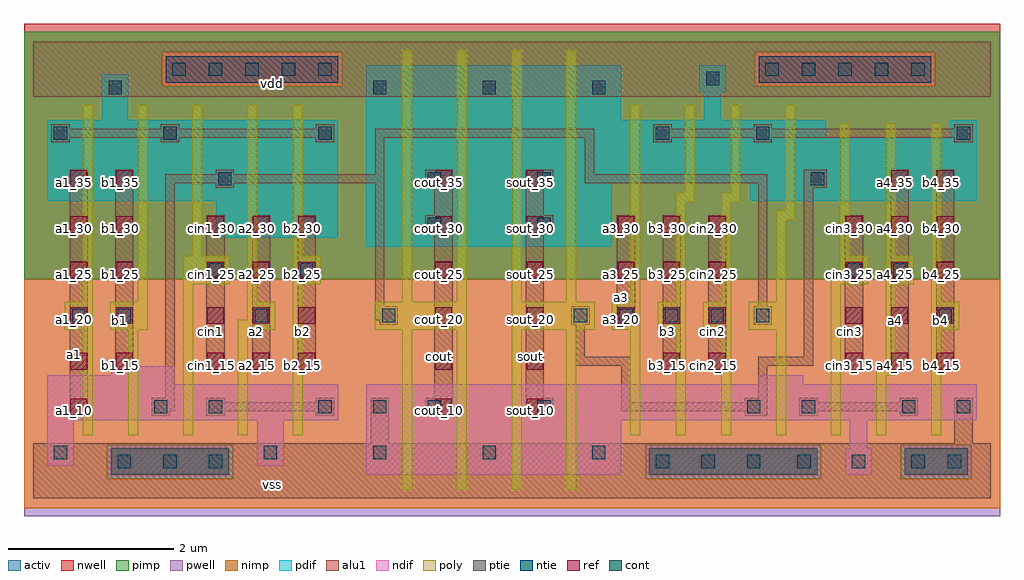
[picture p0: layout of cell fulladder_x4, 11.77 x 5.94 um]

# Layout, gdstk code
import gdstk
lib = gdstk.Library(unit=1e-6, precision=2.5e-09)
def R(c, l, rs):  # rectangles x0, y0, x1, y1
    for r in rs: c.add(gdstk.rectangle(r[:2], r[2:], *l))
def A(c, l, x, y, w, h, nx, ny, dx, dy):  # array of equal rectangles
    R(c, l, [(x+i*dx, y+j*dy, x+i*dx+w, y+j*dy+h) for i in range(nx) for j in range(ny)])
ndif = (3, 0)
pdif = (4, 0)
ntie = (5, 0)
ptie = (6, 0)
ref = (24, 0)
cont = (25, 0)
pwell = (41, 0)
nwell = (42, 0)
activ = (43, 0)
pimp = (44, 0)
nimp = (45, 0)
poly = (46, 0)
alu1 = (49, 0)

fulladder_x4 = lib.new_cell('fulladder_x4')
R(fulladder_x4, ndif, [(4.02,0.28,7.09,0.94), (4.02,0.28,7.09,0.94), (9.795,0.28,10.115,0.6), (9.795,0.28,10.115,0.6), (0.17,0.39,0.49,0.94), (0.17,0.39,0.49,0.94), (2.7,0.39,3.02,0.94), (2.7,0.39,3.02,0.94), (9.85,0.6,10.06,0.94), (9.85,0.6,10.06,0.94), (0.17,0.94,3.68,1.37), (0.17,0.94,3.68,1.37), (4.02,0.94,11.38,1.37), (4.02,0.94,11.38,1.37), (0.17,1.37,1.7,1.48), (0.17,1.37,1.7,1.48), (8.75,1.37,9.29,1.48), (8.75,1.37,9.29,1.48), (0.94,1.48,1.7,1.59), (0.94,1.48,1.7,1.59)])
R(fulladder_x4, pdif, [(4.02,3.03,6.98,3.8), (4.02,3.03,6.98,3.8), (2.205,3.14,3.68,3.58), (2.205,3.14,3.68,3.58), (0.17,3.58,3.68,4.56), (0.17,3.58,3.68,4.56), (8.64,3.58,11.38,3.8), (8.64,3.58,11.38,3.8), (4.02,3.8,11.38,4.34), (4.02,3.8,11.38,4.34), (4.02,4.34,9.565,4.56), (4.02,4.34,9.565,4.56), (11.06,4.34,11.38,4.56), (11.06,4.34,11.38,4.56), (0.83,4.56,1.15,5.11), (0.83,4.56,1.15,5.11), (4.02,4.56,7.09,5.22), (4.02,4.56,7.09,5.22), (8.09,4.56,8.3,4.9), (8.09,4.56,8.3,4.9), (8.035,4.9,8.355,5.22), (8.035,4.9,8.355,5.22)])
R(fulladder_x4, ntie, [(1.6,5.01,3.68,5.33), (1.6,5.01,3.68,5.33), (8.75,5.01,10.83,5.33), (8.75,5.01,10.83,5.33)])
R(fulladder_x4, ptie, [(0.94,0.28,2.36,0.6), (0.94,0.28,2.36,0.6), (7.43,0.28,9.455,0.6), (7.43,0.28,9.455,0.6), (10.51,0.28,11.27,0.6), (10.51,0.28,11.27,0.6)])
A(fulladder_x4, ref, 0.45, 1, 0.2, 0.2, 1, 6, 0, 0.55)
A(fulladder_x4, ref, 1, 1.55, 0.2, 0.2, 1, 5, 0, 0.55)
A(fulladder_x4, ref, 2.1, 1.55, 0.2, 0.2, 3, 4, 0.55, 0.55)
A(fulladder_x4, ref, 7.6, 1.55, 0.2, 0.2, 1, 4, 0, 0.55)
A(fulladder_x4, ref, 8.15, 1.55, 0.2, 0.2, 1, 4, 0, 0.55)
A(fulladder_x4, ref, 9.8, 1.55, 0.2, 0.2, 3, 4, 0.55, 0.55)
A(fulladder_x4, ref, 4.85, 2.1, 0.2, 0.2, 3, 3, 1.1, 0.55)
R(fulladder_x4, ref, [(4.85,1,5.05,1.2), (5.95,1,6.15,1.2), (4.85,1.55,5.05,1.75), (5.95,1.55,6.15,1.75), (4.85,3.75,5.05,3.95), (5.95,3.75,6.15,3.95), (10.35,3.75,10.55,3.95), (10.9,3.75,11.1,3.95)])
A(fulladder_x4, cont, 1.02, 0.36, 0.16, 0.16, 3, 1, 0.55, 0)
A(fulladder_x4, cont, 7.51, 0.36, 0.16, 0.16, 3, 1, 0.55, 0)
A(fulladder_x4, cont, 2.78, 0.47, 0.16, 0.16, 4, 1, 1.32, 0)
A(fulladder_x4, cont, 3.44, 1.02, 0.16, 0.16, 3, 1, 0.66, 0)
A(fulladder_x4, cont, 6.52, 2.12, 0.16, 0.16, 5, 1, 0.55, 0)
A(fulladder_x4, cont, 4.1, 4.87, 0.16, 0.16, 3, 1, 1.32, 0)
A(fulladder_x4, cont, 1.68, 5.09, 0.16, 0.16, 5, 1, 0.44, 0)
A(fulladder_x4, cont, 8.83, 5.09, 0.16, 0.16, 5, 1, 0.44, 0)
R(fulladder_x4, cont, [(9.215,0.36,9.375,0.52), (9.875,0.36,10.035,0.52), (10.59,0.36,10.75,0.52), (11.03,0.36,11.19,0.52), (0.25,0.47,0.41,0.63), (1.46,1.02,1.62,1.18), (2.12,1.02,2.28,1.18), (6.08,1.02,6.24,1.18), (8.61,1.02,8.77,1.18), (9.27,1.02,9.43,1.18), (10.48,1.02,10.64,1.18), (11.14,1.02,11.3,1.18), (0.47,2.12,0.63,2.28), (1.02,2.12,1.18,2.28), (2.67,2.12,2.83,2.28), (4.21,2.12,4.37,2.28), (10.92,2.12,11.08,2.28), (2.12,2.67,2.28,2.83), (3.22,2.67,3.38,2.83), (9.82,2.67,9.98,2.83), (10.37,2.67,10.53,2.83), (4.76,3.22,4.92,3.38), (6.08,3.22,6.24,3.38), (2.23,3.77,2.39,3.93), (4.76,3.77,4.92,3.93), (6.08,3.77,6.24,3.93), (9.38,3.77,9.54,3.93), (0.25,4.32,0.41,4.48), (1.57,4.32,1.73,4.48), (3.44,4.32,3.6,4.48), (7.51,4.32,7.67,4.48), (8.72,4.32,8.88,4.48), (11.14,4.32,11.3,4.48), (0.91,4.87,1.07,5.03), (8.115,4.98,8.275,5.14)])
R(fulladder_x4, pwell, [(-0.11,-0.22,11.66,2.64)])
R(fulladder_x4, nwell, [(-0.11,2.64,11.66,5.72)])
R(fulladder_x4, activ, [(0.94,0.28,2.36,0.6), (0.94,0.28,2.36,0.6), (4.02,0.28,7.09,0.94), (4.02,0.28,7.09,0.94), (7.43,0.28,9.455,0.6), (7.43,0.28,9.455,0.6), (9.795,0.28,10.115,0.6), (9.795,0.28,10.115,0.6), (10.51,0.28,11.27,0.6), (10.51,0.28,11.27,0.6), (0.17,0.39,0.49,0.94), (0.17,0.39,0.49,0.94), (2.7,0.39,3.02,0.94), (2.7,0.39,3.02,0.94), (9.85,0.6,10.06,0.94), (9.85,0.6,10.06,0.94), (0.17,0.94,3.68,1.37), (0.17,0.94,3.68,1.37), (4.02,0.94,11.38,1.37), (4.02,0.94,11.38,1.37), (0.17,1.37,1.7,1.48), (0.17,1.37,1.7,1.48), (8.75,1.37,9.29,1.48), (8.75,1.37,9.29,1.48), (0.94,1.48,1.7,1.59), (0.94,1.48,1.7,1.59), (4.02,3.03,6.98,3.8), (4.02,3.03,6.98,3.8), (2.205,3.14,3.68,3.58), (2.205,3.14,3.68,3.58), (0.17,3.58,3.68,4.56), (0.17,3.58,3.68,4.56), (8.64,3.58,11.38,3.8), (8.64,3.58,11.38,3.8), (4.02,3.8,11.38,4.34), (4.02,3.8,11.38,4.34), (4.02,4.34,9.565,4.56), (4.02,4.34,9.565,4.56), (11.06,4.34,11.38,4.56), (11.06,4.34,11.38,4.56), (0.83,4.56,1.15,5.11), (0.83,4.56,1.15,5.11), (4.02,4.56,7.09,5.22), (4.02,4.56,7.09,5.22), (8.09,4.56,8.3,4.9), (8.09,4.56,8.3,4.9), (8.035,4.9,8.355,5.22), (8.035,4.9,8.355,5.22), (1.6,5.01,3.68,5.33), (1.6,5.01,3.68,5.33), (8.75,5.01,10.83,5.33), (8.75,5.01,10.83,5.33)])
R(fulladder_x4, pimp, [(0.895,0.235,2.405,0.645), (7.385,0.235,9.5,0.645), (10.465,0.235,11.315,0.645), (-0.11,2.64,11.66,4.965), (-0.11,4.965,1.555,5.375), (3.725,4.965,8.705,5.375), (10.875,4.965,11.66,5.375), (-0.11,5.375,11.66,5.625)])
R(fulladder_x4, nimp, [(-0.11,-0.125,11.66,0.235), (-0.11,0.235,0.895,0.645), (2.405,0.235,7.385,0.645), (9.5,0.235,10.465,0.645), (11.315,0.235,11.66,0.645), (-0.11,0.645,11.66,2.64), (1.555,4.965,3.725,5.375), (8.705,4.965,10.875,5.375)])
A(fulladder_x4, poly, 4.45, 0.1, 0.12, 1.93, 4, 1, 0.66, 0)
A(fulladder_x4, poly, 7.2, 0.76, 0.12, 1.27, 3, 1, 0.55, 0)
A(fulladder_x4, poly, 6.98, 2.03, 0.34, 0.34, 3, 1, 0.55, 0)
A(fulladder_x4, poly, 4.45, 2.37, 0.12, 3.03, 4, 1, 0.66, 0)
R(fulladder_x4, poly, [(0.6,0.76,0.72,2.03), (1.15,0.76,1.27,2.03), (1.81,0.76,1.93,2.58), (2.47,0.76,2.59,2.03), (3.13,0.76,3.25,2.58), (8.96,0.76,9.08,2.03), (9.62,0.76,9.74,2.58), (10.17,0.76,10.29,1.48), (10.83,0.76,10.95,2.03), (10.17,1.48,10.4,1.6), (10.28,1.6,10.4,2.58), (0.38,2.03,0.72,2.37), (0.93,2.03,1.38,2.37), (2.47,2.03,2.92,2.15), (4.12,2.03,5.23,2.37), (5.77,2.03,6.77,2.37), (8.63,2.03,9.08,2.37), (10.83,2.03,11.17,2.37), (2.58,2.15,2.92,2.37), (0.6,2.37,0.72,4.74), (1.26,2.37,1.38,4.74), (2.58,2.37,2.7,4.74), (7.2,2.37,7.32,4.74), (7.75,2.37,7.87,3.57), (8.3,2.37,8.42,3.57), (8.96,2.37,9.08,3.35), (10.83,2.37,10.95,4.52), (1.81,2.58,2.37,2.92), (3.13,2.58,3.47,2.92), (9.62,2.58,10.07,2.7), (10.28,2.58,10.62,2.92), (9.73,2.7,10.07,2.92), (1.92,2.92,2.04,4.74), (3.13,2.92,3.25,4.74), (9.73,2.92,9.85,4.52), (10.28,2.92,10.4,4.52), (8.96,3.35,9.19,3.47), (9.07,3.47,9.19,4.74), (7.75,3.57,7.98,3.69), (8.3,3.57,8.53,3.69), (7.86,3.69,7.98,4.74), (8.41,3.69,8.53,4.74)])
A(fulladder_x4, alu1, 2.09, 1.54, 0.22, 1.87, 3, 1, 0.55, 0)
R(fulladder_x4, alu1, [(0,0,11.55,0.66), (4.07,0.66,4.29,1.21), (11.11,0.66,11.33,1.21), (0.44,0.99,0.66,3.96), (1.43,0.99,1.65,1.045), (2.09,0.99,2.31,1.045), (3.41,0.99,3.63,1.045), (4.73,0.99,5.06,1.21), (5.94,0.99,6.27,1.21), (8.58,0.99,8.855,1.045), (9.24,0.99,9.46,1.045), (10.45,0.99,10.67,1.045), (1.43,1.045,1.705,1.21), (2.09,1.045,3.63,1.155), (7.095,1.045,8.855,1.155), (9.24,1.045,10.67,1.155), (2.09,1.155,2.31,1.21), (3.41,1.155,3.63,1.21), (7.095,1.155,7.205,1.595), (8.58,1.155,8.855,1.21), (9.24,1.155,9.46,1.21), (10.45,1.155,10.67,1.21), (1.595,1.21,1.705,3.795), (4.84,1.21,5.06,3.19), (5.94,1.21,6.16,3.19), (8.745,1.21,8.855,1.595), (0.99,1.54,1.21,3.96), (7.59,1.54,7.81,3.41), (8.14,1.54,8.36,3.41), (9.79,1.54,10.01,3.41), (10.34,1.54,10.56,3.96), (10.89,1.54,11.11,3.96), (6.545,1.595,7.205,1.705), (8.745,1.595,9.405,1.705), (6.545,1.705,6.655,2.09), (9.295,1.705,9.405,3.74), (4.18,2.09,4.4,2.145), (6.49,2.09,6.71,2.31), (7.04,2.09,7.26,3.41), (8.69,2.09,8.91,2.31), (4.125,2.145,4.4,2.31), (4.125,2.31,4.235,3.795), (8.745,2.31,8.855,3.795), (4.73,3.19,5.06,3.41), (5.94,3.19,6.27,3.41), (4.84,3.41,5.06,3.74), (5.94,3.41,6.16,3.74), (2.2,3.74,2.42,3.795), (4.73,3.74,5.06,3.96), (5.94,3.74,6.27,3.96), (9.295,3.74,9.57,3.96), (1.595,3.795,4.235,3.905), (6.655,3.795,8.855,3.905), (2.2,3.905,2.42,3.96), (4.125,3.905,4.235,4.345), (6.655,3.905,6.765,4.345), (0.22,4.29,0.44,4.345), (1.54,4.29,1.76,4.345), (3.41,4.29,3.63,4.345), (7.48,4.29,7.7,4.345), (8.69,4.29,8.91,4.345), (11.11,4.29,11.33,4.345), (0.22,4.345,3.63,4.455), (4.125,4.345,6.765,4.455), (7.48,4.345,11.33,4.455), (0.22,4.455,0.44,4.51), (1.54,4.455,1.76,4.51), (3.41,4.455,3.63,4.51), (7.48,4.455,7.7,4.51), (8.69,4.455,8.91,4.51), (11.11,4.455,11.33,4.51), (0,4.84,11.55,5.5)])
fulladder_x4.add(gdstk.Label('vss', (2.8875,0.165), layer=49, texttype=0))
fulladder_x4.add(gdstk.Label('b4', (10.945,2.145), layer=49, texttype=0))
fulladder_x4.add(gdstk.Label('a4', (10.395,2.145), layer=49, texttype=0))
fulladder_x4.add(gdstk.Label('cin3', (9.845,2.0075), layer=49, texttype=0))
fulladder_x4.add(gdstk.Label('cin2', (8.195,2.0075), layer=49, texttype=0))
fulladder_x4.add(gdstk.Label('b3', (7.645,2.0075), layer=49, texttype=0))
fulladder_x4.add(gdstk.Label('a3', (7.095,2.42), layer=49, texttype=0))
fulladder_x4.add(gdstk.Label('sout', (5.995,1.705), layer=49, texttype=0))
fulladder_x4.add(gdstk.Label('cout', (4.895,1.705), layer=49, texttype=0))
fulladder_x4.add(gdstk.Label('b2', (3.245,2.0075), layer=49, texttype=0))
fulladder_x4.add(gdstk.Label('a2', (2.695,2.0075), layer=49, texttype=0))
fulladder_x4.add(gdstk.Label('cin1', (2.145,2.0075), layer=49, texttype=0))
fulladder_x4.add(gdstk.Label('b1', (1.045,2.145), layer=49, texttype=0))
fulladder_x4.add(gdstk.Label('a1', (0.495,1.7325), layer=49, texttype=0))
fulladder_x4.add(gdstk.Label('vdd', (2.8875,5.005), layer=49, texttype=0))
fulladder_x4.add(gdstk.Label('a1_15', (0.5,1.6), layer=24, texttype=0))
fulladder_x4.add(gdstk.Label('a1_20', (0.5,2.15), layer=24, texttype=0))
fulladder_x4.add(gdstk.Label('a1_25', (0.5,2.7), layer=24, texttype=0))
fulladder_x4.add(gdstk.Label('a1_30', (0.5,3.25), layer=24, texttype=0))
fulladder_x4.add(gdstk.Label('b1_15', (1.05,1.6), layer=24, texttype=0))
fulladder_x4.add(gdstk.Label('b1_20', (1.05,2.15), layer=24, texttype=0))
fulladder_x4.add(gdstk.Label('b1_25', (1.05,2.7), layer=24, texttype=0))
fulladder_x4.add(gdstk.Label('b1_30', (1.05,3.25), layer=24, texttype=0))
fulladder_x4.add(gdstk.Label('cin1_15', (2.15,1.6), layer=24, texttype=0))
fulladder_x4.add(gdstk.Label('cin1_20', (2.15,2.15), layer=24, texttype=0))
fulladder_x4.add(gdstk.Label('cin1_25', (2.15,2.7), layer=24, texttype=0))
fulladder_x4.add(gdstk.Label('cin1_30', (2.15,3.25), layer=24, texttype=0))
fulladder_x4.add(gdstk.Label('a2_15', (2.7,1.6), layer=24, texttype=0))
fulladder_x4.add(gdstk.Label('a2_20', (2.7,2.15), layer=24, texttype=0))
fulladder_x4.add(gdstk.Label('a2_25', (2.7,2.7), layer=24, texttype=0))
fulladder_x4.add(gdstk.Label('a2_30', (2.7,3.25), layer=24, texttype=0))
fulladder_x4.add(gdstk.Label('b2_15', (3.25,1.6), layer=24, texttype=0))
fulladder_x4.add(gdstk.Label('b2_20', (3.25,2.15), layer=24, texttype=0))
fulladder_x4.add(gdstk.Label('b2_25', (3.25,2.7), layer=24, texttype=0))
fulladder_x4.add(gdstk.Label('b2_30', (3.25,3.25), layer=24, texttype=0))
fulladder_x4.add(gdstk.Label('a1_10', (0.5,1.05), layer=24, texttype=0))
fulladder_x4.add(gdstk.Label('a1_35', (0.5,3.8), layer=24, texttype=0))
fulladder_x4.add(gdstk.Label('b1_35', (1.05,3.8), layer=24, texttype=0))
fulladder_x4.add(gdstk.Label('sout_15', (6,1.6), layer=24, texttype=0))
fulladder_x4.add(gdstk.Label('sout_10', (6,1.05), layer=24, texttype=0))
fulladder_x4.add(gdstk.Label('sout_35', (6,3.8), layer=24, texttype=0))
fulladder_x4.add(gdstk.Label('sout_30', (6,3.25), layer=24, texttype=0))
fulladder_x4.add(gdstk.Label('sout_25', (6,2.7), layer=24, texttype=0))
fulladder_x4.add(gdstk.Label('sout_20', (6,2.15), layer=24, texttype=0))
fulladder_x4.add(gdstk.Label('b4_30', (10.95,3.25), layer=24, texttype=0))
fulladder_x4.add(gdstk.Label('a4_35', (10.4,3.8), layer=24, texttype=0))
fulladder_x4.add(gdstk.Label('cin3_25', (9.85,2.7), layer=24, texttype=0))
fulladder_x4.add(gdstk.Label('cin3_30', (9.85,3.25), layer=24, texttype=0))
fulladder_x4.add(gdstk.Label('a4_15', (10.4,1.6), layer=24, texttype=0))
fulladder_x4.add(gdstk.Label('a4_20', (10.4,2.15), layer=24, texttype=0))
fulladder_x4.add(gdstk.Label('a4_25', (10.4,2.7), layer=24, texttype=0))
fulladder_x4.add(gdstk.Label('a4_30', (10.4,3.25), layer=24, texttype=0))
fulladder_x4.add(gdstk.Label('b4_20', (10.95,2.15), layer=24, texttype=0))
fulladder_x4.add(gdstk.Label('b4_25', (10.95,2.7), layer=24, texttype=0))
fulladder_x4.add(gdstk.Label('b3_25', (7.65,2.7), layer=24, texttype=0))
fulladder_x4.add(gdstk.Label('b3_30', (7.65,3.25), layer=24, texttype=0))
fulladder_x4.add(gdstk.Label('cin2_15', (8.2,1.6), layer=24, texttype=0))
fulladder_x4.add(gdstk.Label('cin2_20', (8.2,2.15), layer=24, texttype=0))
fulladder_x4.add(gdstk.Label('cin2_25', (8.2,2.7), layer=24, texttype=0))
fulladder_x4.add(gdstk.Label('cin2_30', (8.2,3.25), layer=24, texttype=0))
fulladder_x4.add(gdstk.Label('b4_35', (10.95,3.8), layer=24, texttype=0))
fulladder_x4.add(gdstk.Label('cin3_20', (9.85,2.15), layer=24, texttype=0))
fulladder_x4.add(gdstk.Label('b3_15', (7.65,1.6), layer=24, texttype=0))
fulladder_x4.add(gdstk.Label('cin3_15', (9.85,1.6), layer=24, texttype=0))
fulladder_x4.add(gdstk.Label('a3_20', (7.1,2.15), layer=24, texttype=0))
fulladder_x4.add(gdstk.Label('a3_25', (7.1,2.7), layer=24, texttype=0))
fulladder_x4.add(gdstk.Label('a3_30', (7.1,3.25), layer=24, texttype=0))
fulladder_x4.add(gdstk.Label('b4_15', (10.95,1.6), layer=24, texttype=0))
fulladder_x4.add(gdstk.Label('b3_20', (7.65,2.15), layer=24, texttype=0))
fulladder_x4.add(gdstk.Label('cout_15', (4.9,1.6), layer=24, texttype=0))
fulladder_x4.add(gdstk.Label('cout_20', (4.9,2.15), layer=24, texttype=0))
fulladder_x4.add(gdstk.Label('cout_25', (4.9,2.7), layer=24, texttype=0))
fulladder_x4.add(gdstk.Label('cout_30', (4.9,3.25), layer=24, texttype=0))
fulladder_x4.add(gdstk.Label('cout_10', (4.9,1.05), layer=24, texttype=0))
fulladder_x4.add(gdstk.Label('cout_35', (4.9,3.8), layer=24, texttype=0))

lib.write_gds('fulladder_x4.gds')
